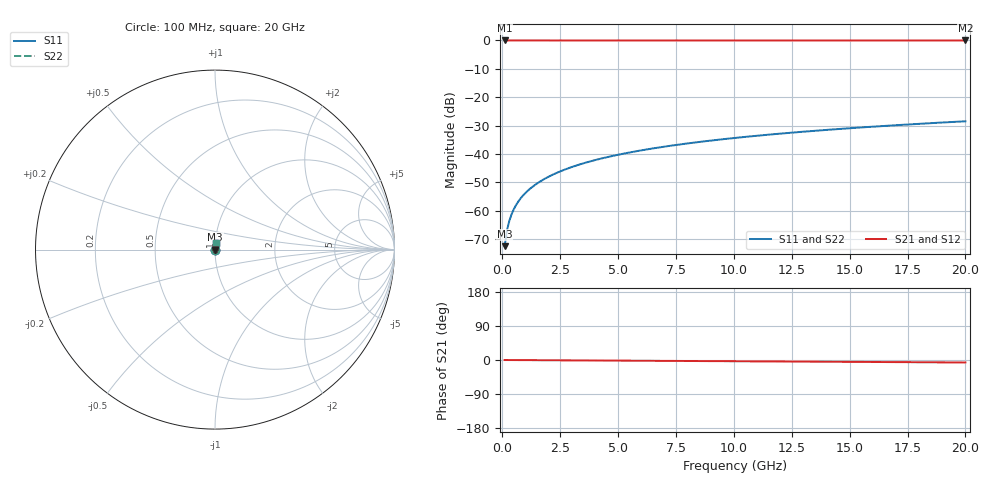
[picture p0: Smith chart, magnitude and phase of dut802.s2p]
! Touchstone file exported from HFSS 2026.1.0
!  File:  C:/ffzhzh/LocalFiles/Ansys_Project_Files/temp_train_TSV_802_1783184112_51560.aedt
!  Generated:  12:56:39 AM Jul  5, 2026
!  Design:  TSV
!  Project:  temp_train_TSV_802_1783184112_51560
! Variables:
!  h_bsmrdl = 2um
!  h_ox = 20um
!  h_rdl = 5um
!  h_sub = 53.69um
!  h_tmrdl = 5um
!  h_tsv = 53.69um
!  h_via = 3um
!  l_bsmrdl = 300um
!  l_sub = 419.62um
!  l_tmrdl = 200um
!  m_sub = 200um
!  pitch = 58.55um
!  r_tsv = 9.81um
!  s_tmrdl = 10um
!  w_bsmrdl = 18um
!  w_sub = 500um
!  w_tmrdl = 12um
!  x_tsv_center1 = 206um
!  x_tsv_center2 = 524um
!  x_tsv_center3 = 736um
!  x_tsv_center4 = 1054um
!  x_tsv_center5 = 1266um
!  x_tsv_center6 = 1584um
# GHz S MA R 50.000000
! Terminal data exported
! Port[1] = TSV1_1_T1
! Port[2] = TSV1_1_T2
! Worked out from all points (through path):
!   200 points, 100 MHz to 20 GHz, reference 50 ohm
!   highest |S21| = 0.00 dB at 100 MHz (marker M1); lowest = 0.0 dB at 20 GHz (marker M2)
!   lowest |S11| = -72.4 dB at 100 MHz (marker M3), VSWR 1.00, Z = 50 + j0.0219 ohm
!   |S11| at or under -10 dB: start of sweep to end of sweep
!   |S22| runs from -72.4 to -28.5 dB; largest |S21 - S12| = 3.2e-15
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0.1  0.0002387 66.3  0.9999 -0.0  0.9999 -0.0  0.0002387 66.3
! Gamma 0 0 0 0
! Port Impedance 50 0 50 0
0.2  0.0004476 76.5  0.9999 -0.1  0.9999 -0.1  0.0004476 76.5
0.3  0.0006593 79.8  0.9999 -0.1  0.9999 -0.1  0.0006593 79.8
0.4  0.0008687 81.3  0.9999 -0.1  0.9999 -0.1  0.0008687 81.3
0.5  0.001075 82.0  0.9999 -0.2  0.9999 -0.2  0.001075 82.0
0.6  0.001278 82.5  0.9998 -0.2  0.9998 -0.2  0.001278 82.5
0.7  0.001478 82.9  0.9998 -0.2  0.9998 -0.2  0.001478 82.9
0.8  0.001675 83.2  0.9998 -0.3  0.9998 -0.3  0.001675 83.2
1  0.002066 83.6  0.9998 -0.3  0.9998 -0.3  0.002066 83.6
1.4  0.002837 84.4  0.9997 -0.5  0.9997 -0.5  0.002837 84.4
1.7  0.003413 84.8  0.9997 -0.6  0.9997 -0.6  0.003413 84.8
2  0.003989 85.1  0.9997 -0.7  0.9997 -0.7  0.003989 85.1
2.7  0.005331 85.5  0.9996 -0.9  0.9996 -0.9  0.005331 85.5
3.5  0.006861 85.7  0.9996 -1.2  0.9996 -1.2  0.006861 85.7
4.2  0.008196 85.7  0.9996 -1.4  0.9996 -1.4  0.008196 85.7
5  0.009717 85.7  0.9995 -1.6  0.9995 -1.6  0.009717 85.7
6.8  0.01312 85.4  0.9994 -2.2  0.9994 -2.2  0.01312 85.4
8.3  0.01594 85.2  0.9993 -2.7  0.9993 -2.7  0.01594 85.2
10.1  0.01932 84.8  0.9992 -3.3  0.9992 -3.3  0.01932 84.8
13.4  0.02549 83.9  0.9989 -4.4  0.9989 -4.4  0.02549 83.9
16.7  0.03163 83.0  0.9987 -5.5  0.9987 -5.5  0.03163 83.0
20  0.03774 82.1  0.9984 -6.5  0.9984 -6.5  0.03774 82.1
